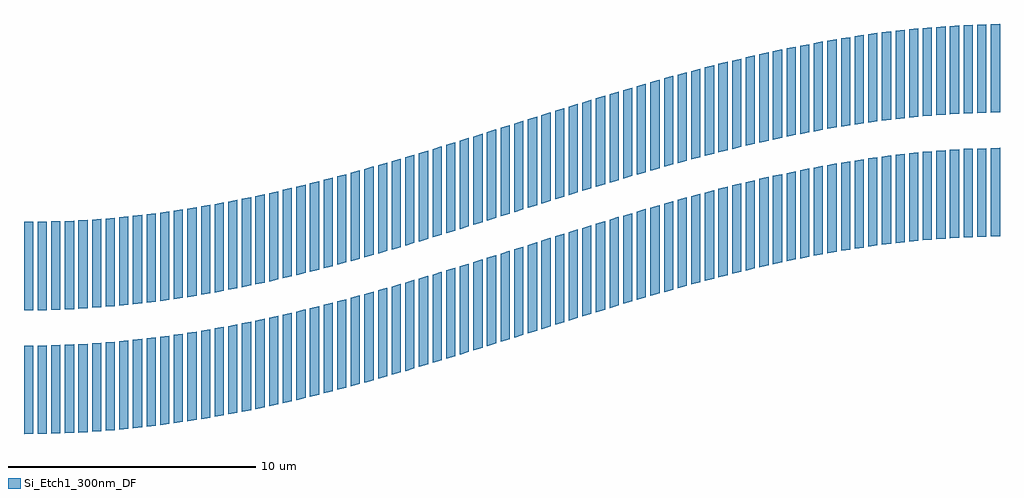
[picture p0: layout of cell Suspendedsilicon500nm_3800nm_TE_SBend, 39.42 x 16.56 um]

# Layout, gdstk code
import gdstk
lib = gdstk.Library(unit=1e-6, precision=1e-09)
def R(c, l, rs):  # rectangles x0, y0, x1, y1
    for r in rs: c.add(gdstk.rectangle(r[:2], r[2:], *l))
def P(c, l, *ps):  # polygons
    for p in ps: c.add(gdstk.Polygon(p, *l))
Si_Etch1_300nm_DF = (404, 0)

suspendedsilicon500nm_38 = lib.new_cell('Suspendedsilicon500nm_3800nm_TE_SBend')
R(suspendedsilicon500nm_38, Si_Etch1_300nm_DF, [(-0.035,4.964,0.335,8.534)])
P(suspendedsilicon500nm_38, Si_Etch1_300nm_DF, [(22.527,4.714),(22.515,4.723),(22.515,8.284),(22.873,8.394),(22.885,8.385),(22.885,4.824)],
  [(0.516,4.966),(0.515,4.967),(0.515,8.536),(0.884,8.543),(0.885,8.542),(0.885,4.973)],
  [(23.077,4.883),(23.065,4.892),(23.065,8.453),(23.423,8.562),(23.435,8.553),(23.435,4.992)],
  [(1.066,4.978),(1.065,4.979),(1.065,8.548),(1.434,8.559),(1.435,8.558),(1.435,4.989)],
  [(1.617,4.995),(1.615,4.997),(1.615,8.565),(1.983,8.583),(1.985,8.581),(1.985,5.013)],
  [(2.167,5.022),(2.165,5.024),(2.165,8.592),(2.533,8.613),(2.535,8.611),(2.535,5.043)],
  [(2.718,5.056),(2.715,5.058),(2.715,8.626),(3.082,8.652),(3.085,8.65),(3.085,5.082)],
  [(3.268,5.097),(3.265,5.1),(3.265,8.667),(3.632,8.698),(3.635,8.695),(3.635,5.128)],
  [(23.627,5.05),(23.615,5.059),(23.615,8.62),(23.973,8.73),(23.985,8.721),(23.985,5.16)],
  [(3.819,5.145),(3.815,5.148),(3.815,8.715),(4.181,8.751),(4.185,8.748),(4.185,5.181)],
  [(4.369,5.201),(4.365,5.205),(4.365,8.771),(4.731,8.812),(4.735,8.808),(4.735,5.242)],
  [(4.92,5.264),(4.915,5.268),(4.915,8.834),(5.28,8.879),(5.285,8.875),(5.285,5.309)],
  [(24.176,5.217),(24.165,5.225),(24.165,8.786),(24.524,8.891),(24.535,8.883),(24.535,5.322)],
  [(5.47,5.334),(5.465,5.338),(5.465,8.904),(5.83,8.953),(5.835,8.949),(5.835,5.383)],
  [(6.021,5.409),(6.015,5.414),(6.015,8.979),(6.379,9.035),(6.385,9.03),(6.385,5.465)],
  [(24.726,5.378),(24.715,5.387),(24.715,8.948),(25.074,9.055),(25.085,9.046),(25.085,5.485)],
  [(6.571,5.493),(6.565,5.498),(6.565,9.063),(6.929,9.122),(6.935,9.117),(6.935,5.552)],
  [(25.276,5.541),(25.265,5.549),(25.265,9.11),(25.624,9.213),(25.635,9.205),(25.635,5.644)],
  [(7.121,5.584),(7.115,5.589),(7.115,9.154),(7.479,9.215),(7.485,9.21),(7.485,5.645)],
  [(7.672,5.68),(7.665,5.686),(7.665,9.25),(8.028,9.317),(8.035,9.311),(8.035,5.747)],
  [(25.826,5.697),(25.815,5.705),(25.815,9.267),(26.174,9.367),(26.185,9.359),(26.185,5.797)],
  [(8.223,5.782),(8.215,5.788),(8.215,9.352),(8.577,9.424),(8.585,9.418),(8.585,5.854)],
  [(26.376,5.852),(26.365,5.86),(26.365,9.422),(26.724,9.522),(26.735,9.514),(26.735,5.952)],
  [(8.773,5.891),(8.765,5.897),(8.765,9.461),(9.127,9.534),(9.135,9.528),(9.135,5.964)],
  [(9.323,6.005),(9.315,6.012),(9.315,9.575),(9.677,9.654),(9.685,9.647),(9.685,6.084)],
  [(26.925,6.004),(26.915,6.012),(26.915,9.574),(27.275,9.669),(27.285,9.661),(27.285,6.099)],
  [(9.874,6.124),(9.865,6.131),(9.865,9.694),(10.226,9.777),(10.235,9.77),(10.235,6.207)],
  [(27.475,6.149),(27.465,6.157),(27.465,9.719),(27.825,9.814),(27.835,9.806),(27.835,6.244)],
  [(10.424,6.251),(10.415,6.258),(10.415,9.821),(10.776,9.904),(10.785,9.897),(10.785,6.334)],
  [(28.025,6.293),(28.015,6.301),(28.015,9.863),(28.375,9.956),(28.385,9.948),(28.385,6.386)],
  [(10.974,6.381),(10.965,6.388),(10.965,9.95),(11.326,10.039),(11.335,10.032),(11.335,6.47)],
  [(28.574,6.432),(28.565,6.439),(28.565,10.002),(28.926,10.088),(28.935,10.081),(28.935,6.518)],
  [(11.525,6.516),(11.515,6.523),(11.515,10.085),(11.875,10.175),(11.885,10.168),(11.885,6.606)],
  [(29.124,6.565),(29.115,6.572),(29.115,10.135),(29.476,10.221),(29.485,10.214),(29.485,6.651)],
  [(12.075,6.655),(12.065,6.663),(12.065,10.225),(12.425,10.319),(12.435,10.311),(12.435,6.749)],
  [(29.673,6.697),(29.665,6.704),(29.665,10.267),(30.027,10.348),(30.035,10.341),(30.035,6.778)],
  [(12.625,6.798),(12.615,6.806),(12.615,10.368),(12.975,10.465),(12.985,10.457),(12.985,6.895)],
  [(30.223,6.817),(30.215,6.824),(30.215,10.387),(30.577,10.466),(30.585,10.459),(30.585,6.896)],
  [(30.773,6.936),(30.765,6.943),(30.765,10.506),(31.127,10.584),(31.135,10.577),(31.135,7.014)],
  [(13.175,6.948),(13.165,6.956),(13.165,10.518),(13.525,10.616),(13.535,10.608),(13.535,7.046)],
  [(31.322,7.053),(31.315,7.059),(31.315,10.623),(31.678,10.691),(31.685,10.685),(31.685,7.121)],
  [(13.726,7.099),(13.715,7.107),(13.715,10.668),(14.074,10.77),(14.085,10.762),(14.085,7.201)],
  [(31.872,7.156),(31.865,7.162),(31.865,10.726),(32.228,10.793),(32.235,10.787),(32.235,7.223)],
  [(32.422,7.258),(32.415,7.264),(32.415,10.828),(32.778,10.895),(32.785,10.889),(32.785,7.325)],
  [(14.276,7.255),(14.265,7.263),(14.265,10.824),(14.624,10.927),(14.635,10.919),(14.635,7.358)],
  [(32.971,7.357),(32.965,7.362),(32.965,10.927),(33.329,10.982),(33.335,10.977),(33.335,7.412)],
  [(33.521,7.44),(33.515,7.445),(33.515,11.01),(33.879,11.065),(33.885,11.06),(33.885,7.495)],
  [(14.826,7.412),(14.815,7.42),(14.815,10.981),(15.174,11.086),(15.185,11.078),(15.185,7.517)],
  [(34.071,7.523),(34.065,7.528),(34.065,11.093),(34.429,11.149),(34.435,11.144),(34.435,7.579)],
  [(34.619,7.602),(34.615,7.606),(34.615,11.172),(34.981,11.214),(34.985,11.21),(34.985,7.644)],
  [(15.376,7.575),(15.365,7.583),(15.365,11.144),(15.724,11.249),(15.735,11.241),(15.735,7.68)],
  [(35.169,7.665),(35.165,7.669),(35.165,11.235),(35.531,11.278),(35.535,11.274),(35.535,7.708)],
  [(35.719,7.728),(35.715,7.732),(35.715,11.298),(36.081,11.341),(36.085,11.337),(36.085,7.771)],
  [(36.268,7.788),(36.265,7.79),(36.265,11.358),(36.632,11.384),(36.635,11.382),(36.635,7.814)],
  [(15.927,7.736),(15.915,7.745),(15.915,11.306),(16.273,11.415),(16.285,11.406),(16.285,7.845)],
  [(36.818,7.829),(36.815,7.831),(36.815,11.399),(37.182,11.425),(37.185,11.423),(37.185,7.855)],
  [(37.368,7.87),(37.365,7.872),(37.365,11.44),(37.732,11.466),(37.735,11.464),(37.735,7.896)],
  [(37.916,7.907),(37.915,7.908),(37.915,11.477),(38.284,11.489),(38.285,11.488),(38.285,7.919)],
  [(38.466,7.925),(38.465,7.926),(38.465,11.495),(38.834,11.507),(38.835,11.506),(38.835,7.937)],
  [(39.016,7.943),(39.015,7.944),(39.015,11.513),(39.384,11.524),(39.385,11.523),(39.385,7.954)],
  [(16.477,7.903),(16.465,7.912),(16.465,11.473),(16.823,11.582),(16.835,11.573),(16.835,8.012)],
  [(17.027,8.07),(17.015,8.079),(17.015,11.64),(17.373,11.751),(17.385,11.742),(17.385,8.181)],
  [(17.577,8.24),(17.565,8.249),(17.565,11.81),(17.923,11.921),(17.935,11.912),(17.935,8.351)],
  [(19.777,8.927),(19.765,8.936),(19.765,12.497),(20.123,12.609),(20.135,12.6),(20.135,9.039)],
  [(20.327,9.1),(20.315,9.109),(20.315,12.67),(20.673,12.782),(20.685,12.773),(20.685,9.212)],
  [(20.877,9.273),(20.865,9.282),(20.865,12.843),(21.223,12.954),(21.235,12.945),(21.235,9.384)],
  [(21.427,9.444),(21.415,9.453),(21.415,13.014),(21.773,13.125),(21.785,13.116),(21.785,9.555)],
  [(21.977,9.615),(21.965,9.624),(21.965,13.185),(22.323,13.296),(22.335,13.287),(22.335,9.726)],
  [(22.527,9.784),(22.515,9.793),(22.515,13.354),(22.873,13.463),(22.885,13.454),(22.885,9.893)],
  [(23.077,9.951),(23.065,9.96),(23.065,13.521),(23.423,13.631),(23.435,13.622),(23.435,10.061)],
  [(23.626,10.119),(23.615,10.127),(23.615,13.688),(23.974,13.793),(23.985,13.785),(23.985,10.224)],
  [(24.176,10.281),(24.165,10.289),(24.165,13.85),(24.524,13.955),(24.535,13.947),(24.535,10.386)],
  [(24.726,10.443),(24.715,10.451),(24.715,14.012),(25.074,14.116),(25.085,14.108),(25.085,10.547)],
  [(25.276,10.601),(25.265,10.609),(25.265,14.171),(25.624,14.271),(25.635,14.263),(25.635,10.701)],
  [(25.826,10.755),(25.815,10.763),(25.815,14.324),(26.174,14.426),(26.185,14.418),(26.185,10.857)],
  [(26.375,10.91),(26.365,10.918),(26.365,14.48),(26.725,14.575),(26.735,14.567),(26.735,11.005)],
  [(26.925,11.055),(26.915,11.063),(26.915,14.625),(27.275,14.72),(27.285,14.712),(27.285,11.15)],
  [(27.475,11.199),(27.465,11.207),(27.465,14.769),(27.825,14.864),(27.835,14.856),(27.835,11.294)],
  [(28.024,11.342),(28.015,11.349),(28.015,14.912),(28.376,14.998),(28.385,14.991),(28.385,11.428)],
  [(28.574,11.475),(28.565,11.482),(28.565,15.045),(28.926,15.131),(28.935,15.124),(28.935,11.561)],
  [(29.124,11.607),(29.115,11.614),(29.115,15.177),(29.476,15.263),(29.485,15.256),(29.485,11.693)],
  [(29.673,11.733),(29.665,11.74),(29.665,15.303),(30.027,15.382),(30.035,15.375),(30.035,11.812)],
  [(30.223,11.852),(30.215,11.859),(30.215,15.422),(30.577,15.5),(30.585,15.493),(30.585,11.93)],
  [(30.773,11.971),(30.765,11.977),(30.765,15.541),(31.127,15.615),(31.135,15.609),(31.135,12.045)],
  [(31.322,12.079),(31.315,12.085),(31.315,15.649),(31.678,15.717),(31.685,15.711),(31.685,12.147)],
  [(31.872,12.181),(31.865,12.187),(31.865,15.751),(32.228,15.819),(32.235,15.813),(32.235,12.249)],
  [(32.421,12.284),(32.415,12.289),(32.415,15.853),(32.779,15.916),(32.785,15.911),(32.785,12.347)],
  [(32.971,12.374),(32.965,12.379),(32.965,15.944),(33.329,15.999),(33.335,15.994),(33.335,12.429)],
  [(33.521,12.457),(33.515,12.462),(33.515,16.027),(33.879,16.082),(33.885,16.077),(33.885,12.512)],
  [(34.07,12.54),(34.065,12.545),(34.065,16.11),(34.43,16.162),(34.435,16.157),(34.435,12.592)],
  [(34.619,12.612),(34.615,12.616),(34.615,16.182),(34.981,16.224),(34.985,16.22),(34.985,12.654)],
  [(35.169,12.675),(35.165,12.679),(35.165,16.245),(35.531,16.287),(35.535,16.283),(35.535,12.717)],
  [(35.719,12.738),(35.715,12.742),(35.715,16.308),(36.081,16.349),(36.085,16.345),(36.085,12.779)],
  [(36.268,12.79),(36.265,12.793),(36.265,16.36),(36.632,16.389),(36.635,16.386),(36.635,12.819)],
  [(36.818,12.831),(36.815,12.834),(36.815,16.401),(37.182,16.43),(37.185,16.427),(37.185,12.86)],
  [(37.368,12.874),(37.365,12.876),(37.365,16.444),(37.732,16.47),(37.735,16.468),(37.735,12.9)],
  [(37.916,12.908),(37.915,12.909),(37.915,16.478),(38.284,16.489),(38.285,16.488),(38.285,12.919)],
  [(38.466,12.925),(38.465,12.926),(38.465,16.495),(38.834,16.507),(38.835,16.506),(38.835,12.937)],
  [(39.016,12.943),(39.015,12.944),(39.015,16.513),(39.384,16.525),(39.385,16.524),(39.385,12.955)],
  [(18.127,8.411),(18.115,8.42),(18.115,11.981),(18.473,12.092),(18.485,12.083),(18.485,8.522)],
  [(18.677,8.582),(18.665,8.591),(18.665,12.152),(19.023,12.264),(19.035,12.255),(19.035,8.694)],
  [(19.227,8.755),(19.215,8.764),(19.215,12.325),(19.573,12.437),(19.585,12.428),(19.585,8.867)],
  [(17.027,3.002),(17.015,3.011),(17.015,6.572),(17.373,6.682),(17.385,6.673),(17.385,3.112)],
  [(17.577,3.17),(17.565,3.179),(17.565,6.74),(17.923,6.851),(17.935,6.842),(17.935,3.281)],
  [(18.127,3.34),(18.115,3.349),(18.115,6.91),(18.473,7.021),(18.485,7.012),(18.485,3.451)],
  [(18.677,3.511),(18.665,3.52),(18.665,7.081),(19.023,7.193),(19.035,7.184),(19.035,3.623)],
  [(19.227,3.683),(19.215,3.692),(19.215,7.253),(19.573,7.365),(19.585,7.356),(19.585,3.795)],
  [(-0.035,-0.035),(-0.035,3.535),(0.335,3.536),(0.335,-0.034)],
  [(0.516,-0.033),(0.515,-0.032),(0.515,3.537),(0.884,3.545),(0.885,3.544),(0.885,-0.025)],
  [(1.066,-0.021),(1.065,-0.02),(1.065,3.549),(1.434,3.56),(1.435,3.559),(1.435,-0.01)],
  [(1.617,-0.003),(1.615,-0.002),(1.615,3.567),(1.983,3.582),(1.985,3.581),(1.985,0.012)],
  [(2.167,0.022),(2.165,0.024),(2.165,3.592),(2.533,3.613),(2.535,3.611),(2.535,0.043)],
  [(2.718,0.055),(2.715,0.057),(2.715,3.625),(3.082,3.65),(3.085,3.648),(3.085,0.08)],
  [(3.268,0.094),(3.265,0.097),(3.265,3.664),(3.632,3.694),(3.635,3.691),(3.635,0.124)],
  [(3.818,0.141),(3.815,0.144),(3.815,3.711),(4.182,3.745),(4.185,3.742),(4.185,0.175)],
  [(4.369,0.194),(4.365,0.198),(4.365,3.764),(4.731,3.805),(4.735,3.801),(4.735,0.235)],
  [(4.92,0.255),(4.915,0.259),(4.915,3.825),(5.28,3.87),(5.285,3.866),(5.285,0.3)],
  [(5.47,0.322),(5.465,0.326),(5.465,3.892),(5.83,3.941),(5.835,3.937),(5.835,0.371)],
  [(6.02,0.397),(6.015,0.402),(6.015,3.967),(6.38,4.02),(6.385,4.015),(6.385,0.45)],
  [(6.571,0.478),(6.565,0.483),(6.565,4.048),(6.929,4.104),(6.935,4.099),(6.935,0.534)],
  [(7.121,0.565),(7.115,0.57),(7.115,4.135),(7.479,4.196),(7.485,4.191),(7.485,0.626)],
  [(7.672,0.657),(7.665,0.663),(7.665,4.227),(8.028,4.293),(8.035,4.287),(8.035,0.723)],
  [(8.222,0.756),(8.215,0.762),(8.215,4.326),(8.578,4.394),(8.585,4.388),(8.585,0.824)],
  [(8.773,0.862),(8.765,0.868),(8.765,4.432),(9.127,4.504),(9.135,4.498),(9.135,0.934)],
  [(9.323,0.971),(9.315,0.978),(9.315,4.541),(9.677,4.62),(9.685,4.613),(9.685,1.05)],
  [(9.873,1.09),(9.865,1.097),(9.865,4.66),(10.227,4.738),(10.235,4.731),(10.235,1.168)],
  [(10.424,1.211),(10.415,1.218),(10.415,4.781),(10.776,4.865),(10.785,4.858),(10.785,1.295)],
  [(10.974,1.338),(10.965,1.345),(10.965,4.908),(11.326,4.994),(11.335,4.987),(11.335,1.424)],
  [(11.524,1.471),(11.515,1.478),(11.515,5.04),(11.876,5.129),(11.885,5.122),(11.885,1.56)],
  [(12.075,1.606),(12.065,1.614),(12.065,5.176),(12.425,5.269),(12.435,5.261),(12.435,1.699)],
  [(12.625,1.748),(12.615,1.756),(12.615,5.318),(12.975,5.413),(12.985,5.405),(12.985,1.843)],
  [(13.175,1.892),(13.165,1.9),(13.165,5.462),(13.525,5.56),(13.535,5.552),(13.535,1.99)],
  [(13.725,2.043),(13.715,2.051),(13.715,5.613),(14.075,5.711),(14.085,5.703),(14.085,2.141)],
  [(14.276,2.195),(14.265,2.203),(14.265,5.764),(14.624,5.866),(14.635,5.858),(14.635,2.297)],
  [(14.826,2.352),(14.815,2.36),(14.815,5.921),(15.174,6.024),(15.185,6.016),(15.185,2.455)],
  [(15.376,2.509),(15.365,2.518),(15.365,6.079),(15.724,6.186),(15.735,6.177),(15.735,2.616)],
  [(15.926,2.672),(15.915,2.681),(15.915,6.242),(16.274,6.349),(16.285,6.34),(16.285,2.779)],
  [(16.477,2.835),(16.465,2.844),(16.465,6.405),(16.823,6.514),(16.835,6.505),(16.835,2.944)],
  [(21.427,4.373),(21.415,4.382),(21.415,7.943),(21.773,8.054),(21.785,8.045),(21.785,4.484)],
  [(21.977,4.544),(21.965,4.553),(21.965,8.114),(22.323,8.225),(22.335,8.216),(22.335,4.655)],
  [(19.777,3.855),(19.765,3.864),(19.765,7.425),(20.123,7.537),(20.135,7.528),(20.135,3.967)],
  [(20.327,4.028),(20.315,4.037),(20.315,7.598),(20.673,7.71),(20.685,7.701),(20.685,4.14)],
  [(20.877,4.201),(20.865,4.21),(20.865,7.771),(21.223,7.883),(21.235,7.874),(21.235,4.313)])

lib.write_gds('Suspendedsilicon500nm_3800nm_TE_SBend.gds')
